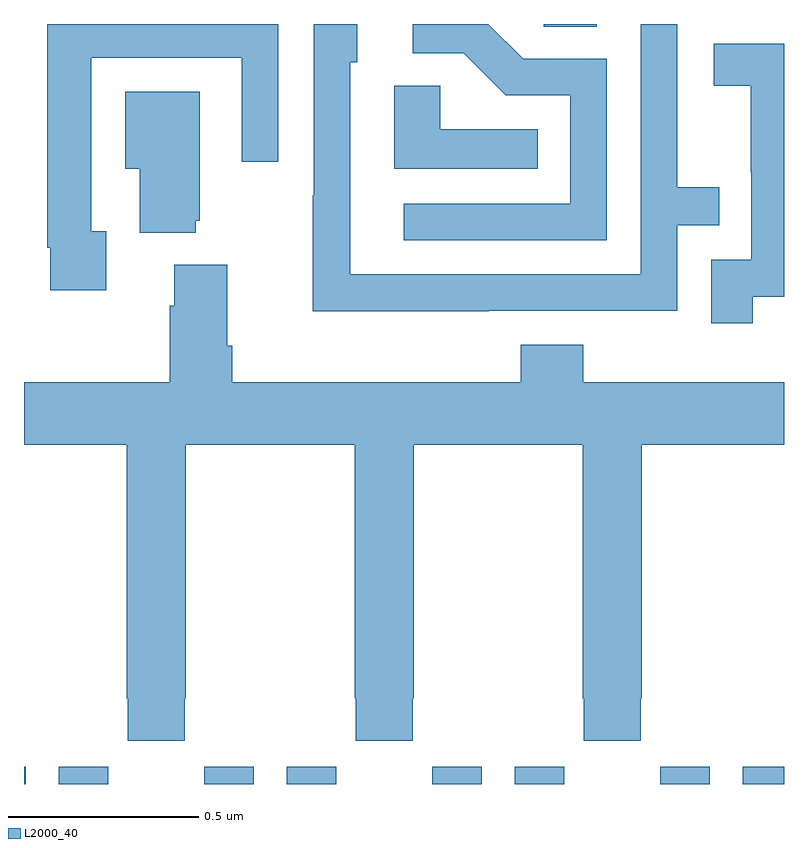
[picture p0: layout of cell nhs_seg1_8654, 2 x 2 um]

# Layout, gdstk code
import gdstk
lib = gdstk.Library(unit=1e-6, precision=1e-09)
def R(c, l, rs):  # rectangles x0, y0, x1, y1
    for r in rs: c.add(gdstk.rectangle(r[:2], r[2:], *l))
def P(c, l, *ps):  # polygons
    for p in ps: c.add(gdstk.Polygon(p, *l))
L2000_40 = (2000, 40)

nhs_seg1_8654 = lib.new_cell('nhs_seg1_8654')
R(nhs_seg1_8654, L2000_40, [(219,524.199,219.004,524.245), (219.092,524.199,219.222,524.245), (219.474,524.199,219.604,524.245), (219.692,524.199,219.822,524.245), (220.074,524.199,220.204,524.245), (220.292,524.199,220.422,524.245), (220.674,524.199,220.804,524.245), (220.892,524.199,221,524.245), (220.368,526.192,220.507,526.199)])
P(nhs_seg1_8654, L2000_40, [(220.533,526.107),(220.314,526.107),(220.222,526.199),(220.023,526.199),(220.023,526.122),(220.157,526.122),(220.268,526.011),(220.437,526.011),(220.437,525.726),(219.999,525.726),(219.999,525.63),(220.533,525.63)],
  [(219.217,525.654),(219.177,525.654),(219.177,526.11),(219.573,526.11),(219.573,525.837),(219.669,525.837),(219.669,526.199),(219.061,526.199),(219.061,525.61),(219.069,525.61),(219.069,525.498),(219.217,525.498)],
  [(220.223,525.444),(220.719,525.444),(220.719,525.669),(220.829,525.669),(220.829,525.77),(220.719,525.77),(220.719,526.199),(220.623,526.199),(220.623,525.54),(219.858,525.54),(219.858,526.098),(219.877,526.098),(219.877,526.199),(219.762,526.199),(219.762,525.749),(219.76,525.749),(219.76,525.443),(220.223,525.443)],
  [(220.918,525.481),(221,525.481),(221,526.147),(220.815,526.147),(220.815,526.037),(220.913,526.037),(220.913,525.809),(220.914,525.809),(220.914,525.579),(220.809,525.579),(220.809,525.411),(220.918,525.411)],
  [(220.352,525.922),(220.095,525.922),(220.095,526.037),(219.974,526.037),(219.974,525.818),(220.352,525.818)],
  [(219.452,525.681),(219.463,525.681),(219.463,526.021),(219.266,526.021),(219.266,525.818),(219.305,525.818),(219.305,525.65),(219.452,525.65)],
  [(220.472,525.355),(220.307,525.355),(220.307,525.256),(219.548,525.256),(219.548,525.352),(219.535,525.352),(219.535,525.565),(219.395,525.565),(219.395,525.458),(219.383,525.458),(219.383,525.256),(219,525.256),(219,525.092),(219.271,525.092),(219.271,524.425),(219.273,524.425),(219.273,524.313),(219.423,524.313),(219.423,524.425),(219.426,524.425),(219.426,525.092),(219.871,525.092),(219.871,524.425),(219.873,524.425),(219.873,524.313),(220.023,524.313),(220.023,524.425),(220.026,524.425),(220.026,525.092),(220.471,525.092),(220.471,524.425),(220.473,524.425),(220.473,524.313),(220.623,524.313),(220.623,524.425),(220.626,524.425),(220.626,525.092),(221,525.092),(221,525.256),(220.472,525.256)])

lib.write_gds('nhs_seg1_8654.gds')
